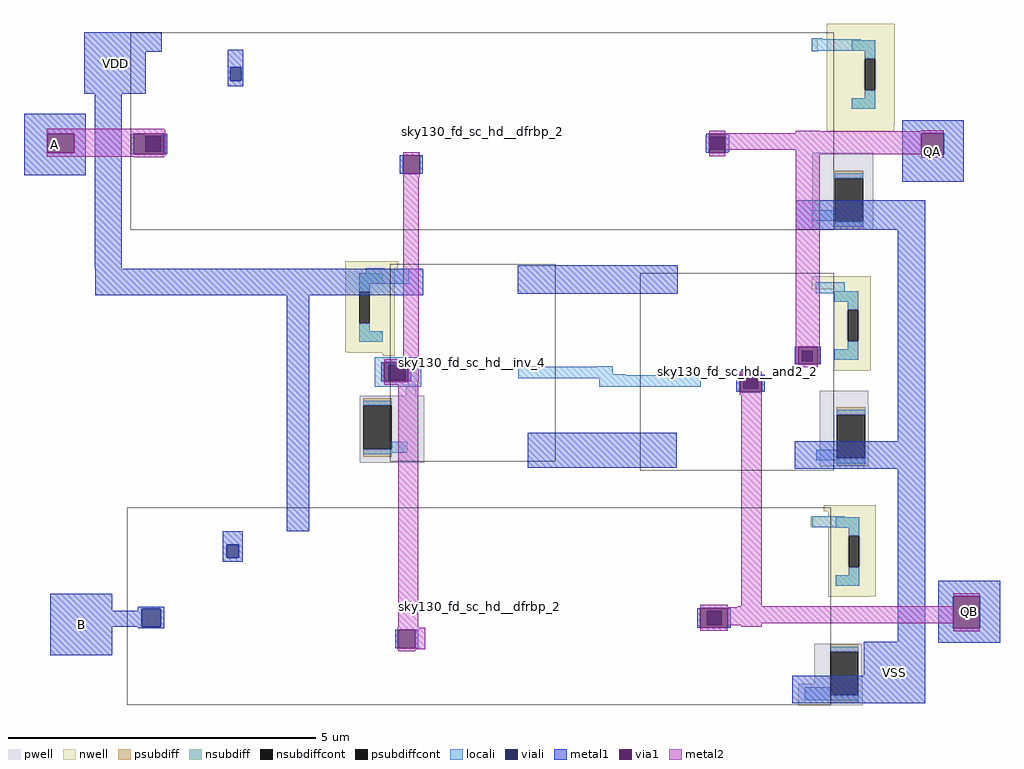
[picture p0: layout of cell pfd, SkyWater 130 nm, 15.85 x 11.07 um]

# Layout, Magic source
magic
tech sky130A
magscale 1 2
<< nwell >>
rect 3344 284 3378 286
rect 3344 244 3364 284
rect 3394 8 3614 334
rect 3394 -16 3612 8
rect 1830 -458 2002 -438
rect 1830 -734 1990 -458
rect 3344 -528 3536 -486
rect 1841 -735 1990 -734
rect 1952 -744 1990 -735
rect 3416 -792 3536 -528
rect 3416 -793 3529 -792
rect 3384 -1250 3552 -1230
rect 3398 -1266 3552 -1250
rect 3342 -1302 3552 -1266
rect 3398 -1526 3552 -1302
rect 3398 -1527 3533 -1526
rect 3398 -1528 3420 -1527
<< pwell >>
rect 3346 -270 3544 -86
rect 3344 -306 3544 -270
rect 3346 -336 3544 -306
rect 2026 -874 2060 -838
rect 1876 -1092 2086 -874
rect 3370 -906 3528 -858
rect 3370 -1104 3530 -906
rect 3352 -1810 3508 -1680
rect 3300 -1880 3510 -1810
<< psubdiff >>
rect 3420 -168 3512 -144
rect 3420 -334 3512 -310
rect 1888 -906 1980 -882
rect 1888 -1072 1980 -1048
rect 3426 -936 3518 -912
rect 3426 -1102 3518 -1078
rect 3404 -1706 3496 -1682
rect 3404 -1872 3496 -1848
<< nsubdiff >>
rect 3474 246 3551 280
rect 3517 220 3551 246
rect 3517 92 3551 118
rect 3474 58 3551 92
rect 1875 -511 1952 -477
rect 1875 -537 1909 -511
rect 3418 -569 3495 -535
rect 1875 -665 1909 -639
rect 3461 -595 3495 -569
rect 1875 -699 1952 -665
rect 3461 -723 3495 -697
rect 3418 -757 3495 -723
rect 3422 -1303 3499 -1269
rect 3465 -1329 3499 -1303
rect 3465 -1457 3499 -1431
rect 3422 -1491 3499 -1457
<< psubdiffcont >>
rect 3420 -310 3512 -168
rect 1888 -1048 1980 -906
rect 3426 -1078 3518 -936
rect 3404 -1848 3496 -1706
<< nsubdiffcont >>
rect 3517 118 3551 220
rect 1875 -639 1909 -537
rect 3461 -697 3495 -595
rect 3465 -1431 3499 -1329
<< locali >>
rect 3344 284 3378 286
rect 3344 280 3504 284
rect 3344 246 3551 280
rect 3344 244 3364 246
rect 3517 220 3551 246
rect 3517 92 3551 118
rect 3474 58 3551 92
rect 1230 -82 1238 -30
rect 3420 -168 3512 -152
rect 3344 -306 3420 -272
rect 3420 -326 3512 -310
rect 1896 -462 1958 -460
rect 1896 -477 2036 -462
rect 1875 -510 2036 -477
rect 1875 -511 1938 -510
rect 1875 -537 1909 -511
rect 3358 -535 3452 -506
rect 3358 -542 3495 -535
rect 3418 -569 3495 -542
rect 1875 -665 1909 -639
rect 3461 -595 3495 -569
rect 1875 -699 1952 -665
rect 3461 -723 3495 -697
rect 1926 -776 2076 -750
rect 3418 -757 3495 -723
rect 1926 -824 1970 -776
rect 2024 -824 2076 -776
rect 2650 -780 2698 -778
rect 2392 -804 2698 -780
rect 2392 -808 2740 -804
rect 2392 -818 2984 -808
rect 1926 -846 2076 -824
rect 2654 -846 2984 -818
rect 1888 -906 1980 -890
rect 3426 -936 3518 -920
rect 1980 -1048 2030 -1024
rect 1888 -1060 2030 -1048
rect 1888 -1064 1980 -1060
rect 3360 -1078 3426 -1050
rect 3360 -1084 3518 -1078
rect 3426 -1094 3518 -1084
rect 3346 -1269 3452 -1266
rect 3346 -1302 3499 -1269
rect 3422 -1303 3499 -1302
rect 3465 -1329 3499 -1303
rect 3465 -1457 3499 -1431
rect 3422 -1491 3499 -1457
rect 3404 -1706 3496 -1690
rect 3322 -1848 3404 -1822
rect 3322 -1864 3496 -1848
<< viali >>
rect 1456 148 1492 192
rect 1180 -82 1230 -30
rect 3012 -76 3064 -34
rect 3312 -762 3348 -728
rect 1970 -824 2024 -776
rect 3122 -852 3170 -800
rect 1444 -1400 1484 -1358
rect 1168 -1624 1230 -1566
rect 3004 -1620 3052 -1572
<< metal1 >>
rect 982 242 1234 306
rect 982 106 1182 242
rect 1448 192 1498 250
rect 1448 148 1456 192
rect 1492 148 1498 192
rect 1448 130 1498 148
rect 786 -24 986 42
rect 786 -86 862 -24
rect 950 -86 986 -24
rect 786 -158 986 -86
rect 1016 -462 1104 106
rect 3638 -22 3838 20
rect 1132 -90 1142 -24
rect 1242 -90 1252 -24
rect 3002 -28 3012 -24
rect 3000 -82 3012 -28
rect 3064 -28 3074 -24
rect 3002 -86 3012 -82
rect 3064 -82 3076 -28
rect 3064 -86 3074 -82
rect 3638 -92 3700 -22
rect 3774 -92 3838 -22
rect 2007 -153 2017 -93
rect 2071 -153 2081 -93
rect 3638 -180 3838 -92
rect 3292 -336 3714 -240
rect 1018 -548 2082 -462
rect 2390 -544 2910 -450
rect 1640 -1314 1712 -548
rect 1946 -828 1956 -766
rect 2034 -828 2044 -766
rect 3290 -772 3300 -716
rect 3364 -772 3374 -716
rect 3116 -800 3176 -788
rect 3116 -806 3122 -800
rect 3170 -806 3176 -800
rect 1958 -830 2036 -828
rect 3100 -862 3110 -806
rect 3182 -862 3192 -806
rect 3116 -864 3176 -862
rect 2422 -1108 2906 -994
rect 3624 -1022 3714 -336
rect 3290 -1112 3714 -1022
rect 1431 -1358 1496 -1314
rect 1431 -1400 1444 -1358
rect 1484 -1400 1496 -1358
rect 1431 -1413 1496 -1400
rect 872 -1572 1072 -1518
rect 1156 -1566 1242 -1560
rect 1156 -1572 1168 -1566
rect 872 -1624 1168 -1572
rect 1230 -1624 1242 -1566
rect 872 -1718 1072 -1624
rect 1156 -1630 1242 -1624
rect 2972 -1628 2982 -1564
rect 3072 -1628 3082 -1564
rect 1992 -1694 2002 -1634
rect 2056 -1694 2066 -1634
rect 3624 -1674 3714 -1112
rect 3514 -1784 3714 -1674
rect 3756 -1526 3956 -1476
rect 3756 -1630 3804 -1526
rect 3890 -1630 3956 -1526
rect 3756 -1676 3956 -1630
rect 3282 -1874 3714 -1784
<< via1 >>
rect 862 -86 950 -24
rect 1142 -30 1242 -24
rect 1142 -82 1180 -30
rect 1180 -82 1230 -30
rect 1230 -82 1242 -30
rect 1142 -90 1242 -82
rect 3012 -34 3064 -24
rect 3012 -76 3064 -34
rect 3012 -86 3064 -76
rect 3700 -92 3774 -22
rect 2017 -153 2071 -93
rect 1956 -776 2034 -766
rect 1956 -824 1970 -776
rect 1970 -824 2024 -776
rect 2024 -824 2034 -776
rect 1956 -828 2034 -824
rect 3300 -728 3364 -716
rect 3300 -762 3312 -728
rect 3312 -762 3348 -728
rect 3348 -762 3364 -728
rect 3300 -772 3364 -762
rect 3110 -852 3122 -806
rect 3122 -852 3170 -806
rect 3170 -852 3182 -806
rect 3110 -862 3182 -852
rect 2982 -1572 3072 -1564
rect 2982 -1620 3004 -1572
rect 3004 -1620 3052 -1572
rect 3052 -1620 3072 -1572
rect 2982 -1628 3072 -1620
rect 2002 -1694 2056 -1634
rect 3804 -1630 3890 -1526
<< metal2 >>
rect 860 -10 1242 -8
rect 860 -22 1244 -10
rect 3012 -22 3064 -14
rect 3292 -16 3370 -14
rect 3700 -16 3774 -12
rect 3292 -22 3774 -16
rect 860 -24 1246 -22
rect 860 -86 862 -24
rect 950 -86 1142 -24
rect 860 -90 1142 -86
rect 1242 -90 1246 -24
rect 3010 -24 3700 -22
rect 3010 -76 3012 -24
rect 860 -94 1246 -90
rect 2017 -93 2071 -83
rect 860 -98 1242 -94
rect 1142 -100 1242 -98
rect 3064 -76 3700 -24
rect 3012 -96 3064 -86
rect 3292 -90 3700 -76
rect 2017 -163 2071 -153
rect 2018 -756 2068 -163
rect 1956 -766 2068 -756
rect 2034 -826 2068 -766
rect 3292 -716 3370 -90
rect 3700 -102 3774 -92
rect 3292 -770 3300 -716
rect 3364 -770 3370 -716
rect 3300 -782 3364 -772
rect 3110 -806 3182 -796
rect 2034 -828 2066 -826
rect 1956 -838 2066 -828
rect 2002 -1628 2066 -838
rect 3110 -872 3182 -862
rect 2982 -1562 3072 -1554
rect 3116 -1558 3182 -872
rect 3804 -1526 3890 -1516
rect 3104 -1562 3804 -1558
rect 2982 -1564 3804 -1562
rect 3072 -1614 3804 -1564
rect 3072 -1620 3182 -1614
rect 3116 -1624 3182 -1620
rect 1998 -1634 2090 -1628
rect 1998 -1694 2002 -1634
rect 2056 -1694 2090 -1634
rect 2982 -1638 3072 -1628
rect 3804 -1640 3890 -1630
rect 1998 -1698 2090 -1694
rect 2002 -1704 2056 -1698
use sky130_fd_sc_hd__dfrbp_2  x1 $PDKPATH/libs.ref/sky130_fd_sc_hd/mag
transform 1 0 1170 0 1 -288
box -38 -48 2246 592
use sky130_fd_sc_hd__and2_2  x2 $PDKPATH/libs.ref/sky130_fd_sc_hd/mag
transform -1 0 3378 0 1 -1068
box -38 -48 590 592
use sky130_fd_sc_hd__dfrbp_2  x3
transform 1 0 1160 0 1 -1830
box -38 -48 2246 592
use sky130_fd_sc_hd__inv_4  x4 $PDKPATH/libs.ref/sky130_fd_sc_hd/mag
transform -1 0 2474 0 1 -1040
box -38 -48 498 592
<< labels >>
flabel metal1 3514 -1874 3714 -1674 0 FreeSans 256 0 0 0 VSS
port 0 nsew
flabel metal1 982 106 1182 306 0 FreeSans 256 0 0 0 VDD
port 1 nsew
flabel metal1 786 -158 986 42 0 FreeSans 256 0 0 0 A
port 2 nsew
flabel metal1 872 -1718 1072 -1518 0 FreeSans 256 0 0 0 B
port 5 nsew
flabel metal1 3756 -1676 3956 -1476 0 FreeSans 256 0 0 0 QB
port 4 nsew
flabel metal1 3638 -180 3838 20 0 FreeSans 256 0 0 0 QA
port 3 nsew
<< end >>
